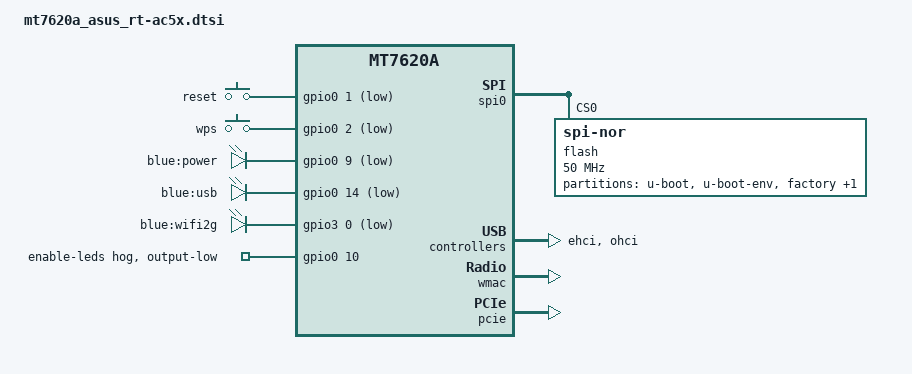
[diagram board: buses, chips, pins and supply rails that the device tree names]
#include "mt7620a.dtsi"

#include <dt-bindings/gpio/gpio.h>
#include <dt-bindings/input/input.h>

/ {
	aliases {
		label-mac-device = &ethernet;
		led-boot = &led_power;
		led-failsafe = &led_power;
		led-running = &led_power;
		led-upgrade = &led_power;
	};

	keys {
		compatible = "gpio-keys";

		reset {
			label = "reset";
			gpios = <&gpio0 1 GPIO_ACTIVE_LOW>;
			linux,code = <KEY_RESTART>;
		};

		wps {
			label = "wps";
			gpios = <&gpio0 2 GPIO_ACTIVE_LOW>;
			linux,code = <KEY_WPS_BUTTON>;
		};
	};

	leds {
		compatible = "gpio-leds";

		led_power: power {
			label = "blue:power";
			gpios = <&gpio0 9 GPIO_ACTIVE_LOW>;
		};

		usb {
			label = "blue:usb";
			gpios = <&gpio0 14 GPIO_ACTIVE_LOW>;
			trigger-sources = <&ohci_port1>, <&ehci_port1>;
			linux,default-trigger = "usbport";
		};

		wifi2g {
			label = "blue:wifi2g";
			gpios = <&gpio3 0 GPIO_ACTIVE_LOW>;
			linux,default-trigger = "phy1tpt";
		};
	};
};

&spi0 {
	status = "okay";

	flash@0 {
		compatible = "jedec,spi-nor";
		reg = <0>;

		spi-max-frequency = <50000000>;
		m25p,fast-read;

		partitions {
			compatible = "fixed-partitions";
			#address-cells = <1>;
			#size-cells = <1>;

			partition@0 {
				label = "u-boot";
				reg = <0x0 0x30000>;
				read-only;
			};

			partition@30000 {
				label = "u-boot-env";
				reg = <0x30000 0x10000>;
				read-only;
			};

			factory: partition@40000 {
				label = "factory";
				reg = <0x40000 0x10000>;
				read-only;
			};

			partition@50000 {
				compatible = "denx,uimage";
				label = "firmware";
				reg = <0x50000 0xfb0000>;
			};
		};
	};
};

&ehci {
	status = "okay";
};

&ohci {
	status = "okay";
};

&gpio0 {
	enable-leds {
		gpio-hog;
		line-name = "enable-leds";
		output-low;
		gpios = <10 GPIO_ACTIVE_HIGH>;
	};
};

&gpio3 {
	status = "okay";
};

&state_default {
	gpio {
		groups = "i2c", "wled", "uartf";
		function = "gpio";
	};
};

&ethernet {
	nvmem-cells = <&macaddr_factory_28>;
	nvmem-cell-names = "mac-address";

	mediatek,portmap = "wllll";
};

&wmac {
	ralink,mtd-eeprom = <&factory 0x0>;
};

&pcie {
	status = "okay";
};

&factory {
	compatible = "nvmem-cells";
	#address-cells = <1>;
	#size-cells = <1>;

	macaddr_factory_28: macaddr@28 {
		reg = <0x28 0x6>;
	};
};
